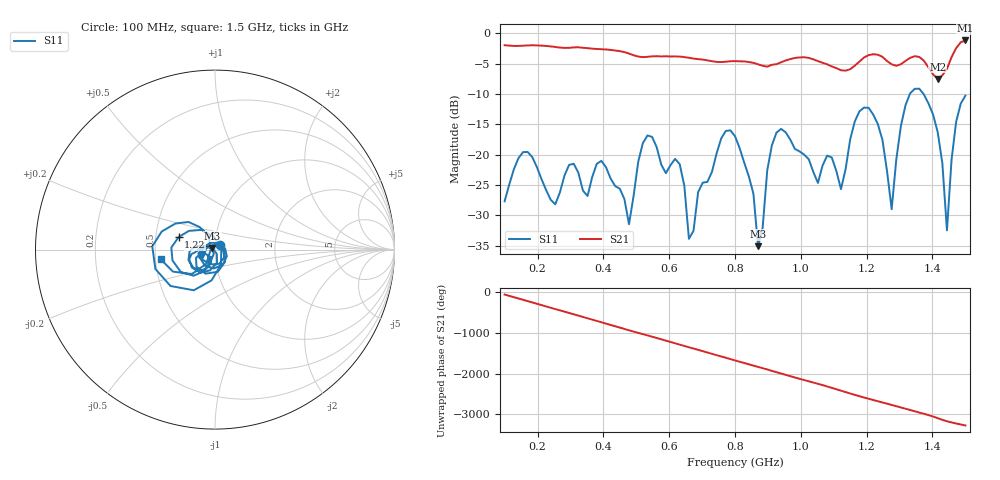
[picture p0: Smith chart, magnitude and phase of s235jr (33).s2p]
! NanoVNA-App
! Date: 2025-09-26 09:45:02
! Start: 100MHz Stop: 1,5GHz Points: 101
! S-Parameter data: F S11 S21 S12 S22
# Hz S RI R 50
!  Frequency  S11_Real  S11_Imag  S21_Real  S21_Imag  S12_Real  S12_Imag  S22_Real  S22_Imag
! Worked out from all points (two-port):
!   101 points, 100 MHz to 1.5 GHz, reference 50 ohm
!   highest |S21| = -1.17 dB at 1.5 GHz (marker M1); lowest = -7.5 dB at 1.416 GHz (marker M2)
!   |S21| within 3 dB of the highest: start of sweep to 676.6 MHz; 1.188 GHz to 1.254 GHz (66 MHz wide, 5.4 % of centre)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
!   lowest |S11| = -35.1 dB at 870 MHz (marker M3), VSWR 1.04, Z = 48.5 + j0.931 ohm
!   |S11| at or under -10 dB: start of sweep to 1.331 GHz; 1.373 GHz to end of sweep
!   S12 and S22 are empty: the file has one direction only
!   S11 on the Smith chart (normalised r, x): 100 MHz: 1.06, +0.06; 1.22 GHz: 0.66, +0.10; 1.5 GHz: 0.53, -0.06
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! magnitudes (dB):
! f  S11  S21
! 100 MHz  -27.7  -2.0
! 156 MHz  -19.6  -2.0
! 338 MHz  -25.9  -2.4
! 394 MHz  -21.0  -2.6
! 478 MHz  -31.4  -3.3
! 520 MHz  -18.1  -3.9
! 576 MHz  -21.6  -3.8
! 632 MHz  -21.6  -3.8
! 660 MHz  -33.9  -4.0
! 800 MHz  -16.9  -4.6
! 870 MHz  -35.1  -5.1
! 926 MHz  -16.4  -5.1
! 1.038 GHz  -22.8  -4.3
! 1.122 GHz  -25.7  -6.1
! 1.164 GHz  -14.5  -5.3
! 1.22 GHz  -13.4  -3.4
! 1.276 GHz  -29.0  -5.1
! 1.332 GHz  -9.9  -4.0
! 1.416 GHz  -16.3  -7.5
! 1.444 GHz  -32.5  -5.8
! 1.472 GHz  -14.5  -2.4
! 1.5 GHz  -10.3  -1.2
